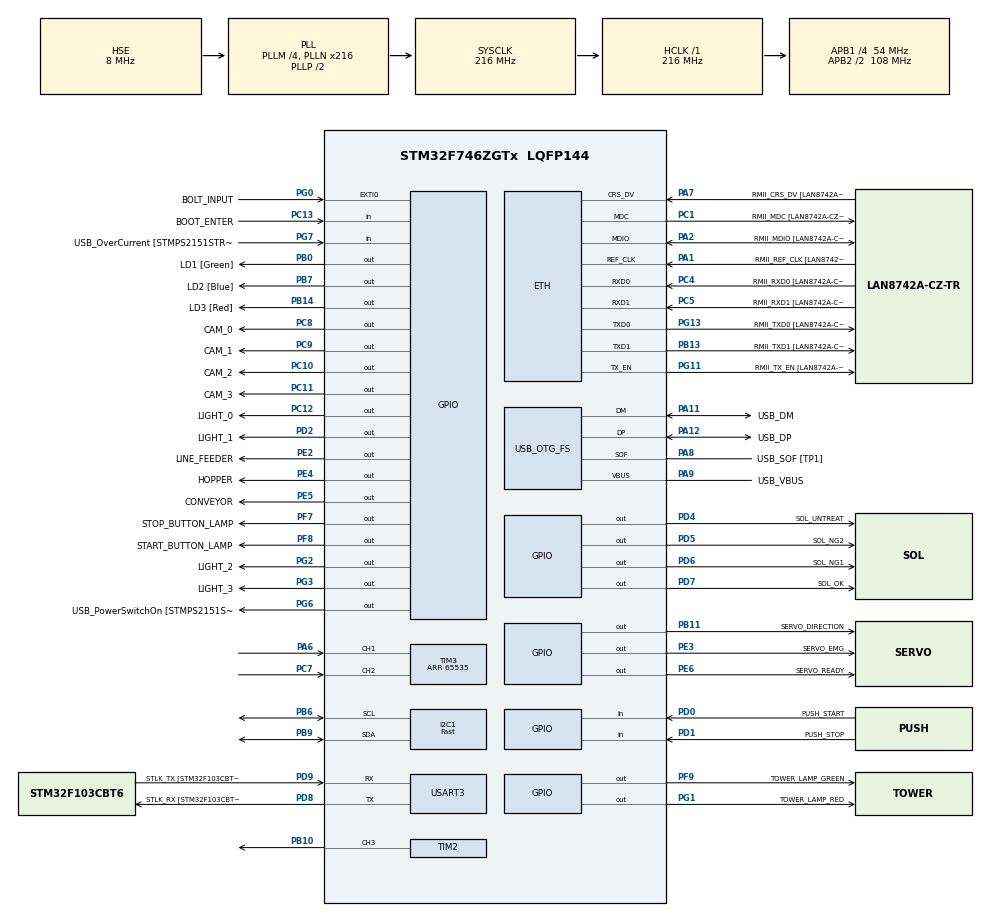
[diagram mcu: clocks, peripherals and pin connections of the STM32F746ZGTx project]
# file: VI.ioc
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ETH.MediaInterface=ETH_MEDIA_INTERFACE_RMII
ETH.PHY_Name=LAN8742A_PHY_ADDRESS
ETH.PHY_Value=0
ETH.PhyAddress=0
FREERTOS.Tasks01=defaultTask,0,1024,StartDefaultTask,Default,NULL,Dynamic,NULL,NULL;mainTask,1,2048,StartmainTask,Default,NULL,Dynamic,NULL,NULL;commTask,0,3072,StartcommTask,Default,NULL,Dynamic,NULL,NULL
FREERTOS.configTOTAL_HEAP_SIZE=131072
I2C1.I2C_Speed_Mode=I2C_Fast
I2C1.Timing=0x6000030D
LWIP.GATEWAY_ADDRESS=192.168.000.001
LWIP.IP_ADDRESS=192.168.000.251
LWIP.LWIP_DHCP=0
LWIP.LWIP_SO_RCVTIMEO=1
LWIP.LWIP_SO_SNDTIMEO=0
LWIP.NETMASK_ADDRESS=255.255.255.000
LWIP.Version=v2.0.3_Cube
Mcu.Family=STM32F7
Mcu.Name=STM32F746ZGTx
Mcu.Package=LQFP144
NVIC.ETH_IRQn=true\:5\:0\:false\:false\:true\:true\:false\:true
NVIC.EXTI0_IRQn=true\:5\:0\:false\:false\:true\:true\:true\:true
NVIC.PriorityGroup=NVIC_PRIORITYGROUP_4
NVIC.TIM8_TRG_COM_TIM14_IRQn=true\:0\:0\:false\:false\:true\:false\:false\:true
NVIC.TimeBase=TIM8_TRG_COM_TIM14_IRQn
NVIC.TimeBaseIP=TIM14
PA1.GPIO_Label=RMII_REF_CLK [LAN8742A-CZ-TR_REFCLK0]
PA1.Mode=RMII
PA1.Signal=ETH_REF_CLK
PA10.GPIO_Label=USB_ID
PA10.Signal=USB_OTG_FS_ID
PA11.GPIO_Label=USB_DM
PA11.Mode=Device_Only
PA11.Signal=USB_OTG_FS_DM
PA12.GPIO_Label=USB_DP
PA12.Mode=Device_Only
PA12.Signal=USB_OTG_FS_DP
PA13.GPIO_Label=TMS
PA13.Mode=Serial_Wire
PA13.Signal=SYS_JTMS-SWDIO
PA14.GPIO_Label=TCK
PA14.Mode=Serial_Wire
PA14.Signal=SYS_JTCK-SWCLK
PA2.GPIO_Label=RMII_MDIO [LAN8742A-CZ-TR_MDIO]
PA2.Mode=RMII
PA2.Signal=ETH_MDIO
PA6.Signal=S_TIM3_CH1
PA7.GPIO_Label=RMII_CRS_DV [LAN8742A-CZ-TR_CRS_DV]
PA7.Mode=RMII
PA7.Signal=ETH_CRS_DV
PA8.GPIO_Label=USB_SOF [TP1]
PA8.Mode=Activate_SOF_FS
PA8.Signal=USB_OTG_FS_SOF
PA9.GPIO_Label=USB_VBUS
PA9.Mode=Activate_VBUS
PA9.Signal=USB_OTG_FS_VBUS
PB0.GPIO_Label=LD1 [Green]
PB0.Signal=GPIO_Output
PB10.Signal=S_TIM2_CH3
PB11.GPIO_Label=SERVO_DIRECTION
PB11.Signal=GPIO_Output
PB13.GPIO_Label=RMII_TXD1 [LAN8742A-CZ-TR_TXD1]
PB13.Mode=RMII
PB13.Signal=ETH_TXD1
PB14.GPIO_Label=LD3 [Red]
PB14.Signal=GPIO_Output
PB3.GPIO_Label=SW0
PB3.Signal=SYS_JTDO-SWO
PB6.Mode=I2C
PB6.Signal=I2C1_SCL
PB7.GPIO_Label=LD2 [Blue]
PB7.Signal=GPIO_Output
PB9.Mode=I2C
PB9.Signal=I2C1_SDA
PC1.GPIO_Label=RMII_MDC [LAN8742A-CZ-TR_MDC]
PC1.Mode=RMII
PC1.Signal=ETH_MDC
PC10.GPIO_Label=CAM_2
PC10.Signal=GPIO_Output
PC11.GPIO_Label=CAM_3
PC11.Signal=GPIO_Output
PC12.GPIO_Label=LIGHT_0
PC12.Signal=GPIO_Output
PC13.GPIO_Label=BOOT_ENTER
PC13.GPIO_Mode=GPIO_MODE_INPUT
PC13.GPIO_PuPd=GPIO_NOPULL
PC13.Signal=GPIO_Input
PC14/OSC32_IN.Mode=LSE-External-Oscillator
PC14/OSC32_IN.Signal=RCC_OSC32_IN
PC15/OSC32_OUT.Mode=LSE-External-Oscillator
PC15/OSC32_OUT.Signal=RCC_OSC32_OUT
PC4.GPIO_Label=RMII_RXD0 [LAN8742A-CZ-TR_RXD0]
PC4.Mode=RMII
PC4.Signal=ETH_RXD0
PC5.GPIO_Label=RMII_RXD1 [LAN8742A-CZ-TR_RXD1]
PC5.Mode=RMII
PC5.Signal=ETH_RXD1
PC7.Signal=S_TIM3_CH2
PC8.GPIO_Label=CAM_0
PC8.Signal=GPIO_Output
PC9.GPIO_Label=CAM_1
PC9.Signal=GPIO_Output
PD0.GPIO_Label=PUSH_START
PD0.GPIO_PuPd=GPIO_PULLDOWN
PD0.Signal=GPIO_Input
PD1.GPIO_Label=PUSH_STOP
PD1.GPIO_PuPd=GPIO_PULLDOWN
PD1.Signal=GPIO_Input
PD2.GPIO_Label=LIGHT_1
PD2.Signal=GPIO_Output
PD4.GPIO_Label=SOL_UNTREAT
PD4.Signal=GPIO_Output
PD5.GPIO_Label=SOL_NG2
PD5.Signal=GPIO_Output
PD6.GPIO_Label=SOL_NG1
PD6.Signal=GPIO_Output
PD7.GPIO_Label=SOL_OK
PD7.Signal=GPIO_Output
PD8.GPIO_Label=STLK_RX [STM32F103CBT6_PA3]
PD8.Mode=Asynchronous
PD8.Signal=USART3_TX
PD9.GPIO_Label=STLK_TX [STM32F103CBT6_PA2]
PD9.Mode=Asynchronous
PD9.Signal=USART3_RX
PE2.GPIO_Label=LINE_FEEDER
PE2.Signal=GPIO_Output
PE3.GPIO_Label=SERVO_EMG
PE3.Signal=GPIO_Output
PE4.GPIO_Label=HOPPER
PE4.Signal=GPIO_Output
PE5.GPIO_Label=CONVEYOR
PE5.Signal=GPIO_Output
PE6.GPIO_Label=SERVO_READY
PE6.Signal=GPIO_Output
PF7.GPIO_Label=STOP_BUTTON_LAMP
PF7.Signal=GPIO_Output
PF8.GPIO_Label=START_BUTTON_LAMP
PF8.Signal=GPIO_Output
PF9.GPIO_Label=TOWER_LAMP_GREEN
PF9.Signal=GPIO_Output
PG0.GPIO_Label=BOLT_INPUT
PG0.GPIO_PuPd=GPIO_PULLDOWN
PG0.Signal=GPXTI0
PG1.GPIO_Label=TOWER_LAMP_RED
PG1.Signal=GPIO_Output
PG11.GPIO_Label=RMII_TX_EN [LAN8742A-CZ-TR_TXEN]
PG11.Mode=RMII
PG11.Signal=ETH_TX_EN
PG13.GPIO_Label=RMII_TXD0 [LAN8742A-CZ-TR_TXD0]
PG13.Mode=RMII
PG13.Signal=ETH_TXD0
PG2.GPIO_Label=LIGHT_2
PG2.Signal=GPIO_Output
PG3.GPIO_Label=LIGHT_3
PG3.Signal=GPIO_Output
PG6.GPIO_Label=USB_PowerSwitchOn [STMPS2151STR_EN]
PG6.Signal=GPIO_Output
PG7.GPIO_Label=USB_OverCurrent [STMPS2151STR_FAULT]
PG7.Signal=GPIO_Input
PH0/OSC_IN.GPIO_Label=MCO [STM32F103CBT6_PA8]
PH0/OSC_IN.Mode=HSE-External-Clock-Source
PH0/OSC_IN.Signal=RCC_OSC_IN
PH1/OSC_OUT.Mode=HSE-External-Clock-Source
PH1/OSC_OUT.Signal=RCC_OSC_OUT
ProjectManager.HeapSize=0x200
ProjectManager.StackSize=0x400
ProjectManager.TargetToolchain=STM32CubeIDE
RCC.48MHZClocksFreq_Value=24000000
RCC.AHBFreq_Value=216000000
RCC.APB1CLKDivider=RCC_HCLK_DIV4
RCC.APB1Freq_Value=54000000
RCC.APB1TimFreq_Value=108000000
RCC.APB2CLKDivider=RCC_HCLK_DIV2
RCC.APB2Freq_Value=108000000
RCC.APB2TimFreq_Value=216000000
RCC.CortexFreq_Value=216000000
RCC.HCLKFreq_Value=216000000
RCC.HSE_VALUE=8000000
RCC.HSI_VALUE=16000000
RCC.PLLM=4
RCC.PLLMUL=RCC_PLL_MUL9
RCC.PLLN=216
RCC.PLLQ=9
RCC.PRESCALERUSB=RCC_USBCLKSOURCE_PLL_DIV1_5
RCC.SYSCLKFreq_VALUE=216000000
RCC.SYSCLKSource=RCC_SYSCLKSOURCE_PLLCLK
RCC.SYSCLKSourceVirtual=RCC_SYSCLKSOURCE_PLLCLK
RCC.USBFreq_Value=48000000
RCC.VCOOutputFreq_Value=432000000
SH.S_TIM2_CH3.0=TIM2_CH3,PWM Generation3 CH3
SH.S_TIM3_CH1.0=TIM3_CH1,Encoder_Interface
SH.S_TIM3_CH2.0=TIM3_CH2,Encoder_Interface
TIM2.Channel-PWM\ Generation3\ CH3=TIM_CHANNEL_3
TIM2.Period=999
TIM2.Prescaler=21600
TIM3.EncoderMode=TIM_ENCODERMODE_TI12
TIM3.Period=65535
USART3.VirtualMode-Asynchronous=VM_ASYNC
USB_OTG_FS.VirtualMode=Device_Only
VP_FREERTOS_VS_CMSIS_V1.Mode=CMSIS_V1
VP_LWIP_VS_Enabled.Mode=Enabled
VP_SYS_VS_tim14.Mode=TIM14
VP_TIM2_VS_ClockSourceINT.Mode=Internal
board=NUCLEO-F746ZG

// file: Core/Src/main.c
/* USER CODE BEGIN Header */
/**
  ******************************************************************************
  * @file           : main.c
  * @brief          : Main program body
  ******************************************************************************
  * @attention
  *
  * <h2><center>&copy; Copyright (c) 2020 STMicroelectronics.
  * All rights reserved.</center></h2>
  *
  * This software component is licensed by ST under BSD 3-Clause license,
  * the "License"; You may not use this file except in compliance with the
  * License. You may obtain a copy of the License at:
  *                        opensource.org/licenses/BSD-3-Clause
  *
  ******************************************************************************
  */
/* USER CODE END Header */

#include "main.h"
#include "cmsis_os.h"
#include "lwip.h"

/* USER CODE BEGIN Includes */
#include "LIB/Dwt_delay.h"

#include "BSW/Encoder.h"

#include "SERVICE/VI_Data.h"
#include "SERVICE/LED.h"
#include "SERVICE/Servo.h"
#include "SERVICE/Bolt.h"

#include "ASW/TaskTCP.h"
#include "ASW/TaskUDP.h"
#include "ASW/TaskRun.h"

/* USER CODE END Includes */

I2C_HandleTypeDef hi2c1;

TIM_HandleTypeDef htim2;
TIM_HandleTypeDef htim3;

UART_HandleTypeDef huart3;

PCD_HandleTypeDef hpcd_USB_OTG_FS;

osThreadId defaultTaskHandle;
osThreadId mainTaskHandle;
osThreadId commTaskHandle;

void SystemClock_Config(void);
static void MX_GPIO_Init(void);
static void MX_USART3_UART_Init(void);
static void MX_USB_OTG_FS_PCD_Init(void);
static void MX_TIM2_Init(void);
static void MX_TIM3_Init(void);
static void MX_I2C1_Init(void);
void StartDefaultTask(void const * argument);
void StartmainTask(void const * argument);
void StartcommTask(void const * argument);

/* USER CODE BEGIN 0 */

void BootLoader_CallBack(void);
void check_BOOTLOADER(void);
void Test_Encoder(void);

void BootLoader_CallBack(void)
{
	__HAL_RCC_GPIOC_CLK_ENABLE();

	if (GPIO_PIN_RESET != HAL_GPIO_ReadPin(BOOT_ENTER_GPIO_Port, BOOT_ENTER_Pin))
	{
		//__enable_irq();
		__set_MSP(*((uint32_t *)0x1FF00000));
		((volatile void (*)(void)) (*((uint32_t *)(0x1FF00000 + 4))))();
	}
}

void check_BOOTLOADER(void)
{
	static uint32_t count = 0;

	if (GPIO_PIN_RESET != HAL_GPIO_ReadPin(BOOT_ENTER_GPIO_Port, BOOT_ENTER_Pin))
	{
		led_RED.pSetLED(LED_ON);
		count++;
	}
	else
		count = 0;

	if (count >= 3000)
	{
		__DSB();
		NVIC_SystemReset();
	}
}

void Test_Encoder(void)
{
	static uint32_t count = 0;

	if (count > 2)
	{
		Encoder_Test_Count_Up();
		count = 0;
	}
	else
		count++;
}

/* USER CODE END 0 */

int main(void)
{

  /* MCU Configuration--------------------------------------------------------*/

  /* Reset of all peripherals, Initializes the Flash interface and the Systick. */
  HAL_Init();

  /* Configure the system clock */
  SystemClock_Config();

  /* USER CODE BEGIN SysInit */
  DWT_Init();
  /* USER CODE END SysInit */

  /* Initialize all configured peripherals */
  MX_GPIO_Init();
  MX_USART3_UART_Init();
  MX_USB_OTG_FS_PCD_Init();
  MX_TIM2_Init();
  MX_TIM3_Init();
  MX_LWIP_Init();
  MX_I2C1_Init();
  /* USER CODE BEGIN 2 */

    Servo_Init();
	Encoder_Init();
	Bolt_Init();

	VI_Data_Status_Data_Reset();
	VI_Data_Setting_Data_Read_from_E2P();

  /* USER CODE END 2 */

  /* Create the thread(s) */
  /* definition and creation of defaultTask */
  osThreadDef(defaultTask, StartDefaultTask, osPriorityNormal, 0, 1024);
  defaultTaskHandle = osThreadCreate(osThread(defaultTask), NULL);

  /* definition and creation of mainTask */
  osThreadDef(mainTask, StartmainTask, osPriorityAboveNormal, 0, 2048);
  mainTaskHandle = osThreadCreate(osThread(mainTask), NULL);

  /* definition and creation of commTask */
  osThreadDef(commTask, StartcommTask, osPriorityNormal, 0, 3072);
  commTaskHandle = osThreadCreate(osThread(commTask), NULL);

  /* Start scheduler */
  osKernelStart();

  /* We should never get here as control is now taken by the scheduler */

  /* Infinite loop */
  while (1)
  {

  }
}

void SystemClock_Config(void)
{
  RCC_OscInitTypeDef RCC_OscInitStruct = {0};
  RCC_ClkInitTypeDef RCC_ClkInitStruct = {0};
  RCC_PeriphCLKInitTypeDef PeriphClkInitStruct = {0};

  /** Configure LSE Drive Capability
  */
  HAL_PWR_EnableBkUpAccess();
  /** Configure the main internal regulator output voltage
  */
  __HAL_RCC_PWR_CLK_ENABLE();
  __HAL_PWR_VOLTAGESCALING_CONFIG(PWR_REGULATOR_VOLTAGE_SCALE1);
  /** Initializes the CPU, AHB and APB busses clocks
  */
  RCC_OscInitStruct.OscillatorType = RCC_OSCILLATORTYPE_HSE;
  RCC_OscInitStruct.HSEState = RCC_HSE_BYPASS;
  RCC_OscInitStruct.PLL.PLLState = RCC_PLL_ON;
  RCC_OscInitStruct.PLL.PLLSource = RCC_PLLSOURCE_HSE;
  RCC_OscInitStruct.PLL.PLLM = 4;
  RCC_OscInitStruct.PLL.PLLN = 216;
  RCC_OscInitStruct.PLL.PLLP = RCC_PLLP_DIV2;
  RCC_OscInitStruct.PLL.PLLQ = 9;
  if (HAL_RCC_OscConfig(&RCC_OscInitStruct) != HAL_OK)
  {
    Error_Handler();
  }
  /** Activate the Over-Drive mode
  */
  if (HAL_PWREx_EnableOverDrive() != HAL_OK)
  {
    Error_Handler();
  }
  /** Initializes the CPU, AHB and APB busses clocks
  */
  RCC_ClkInitStruct.ClockType = RCC_CLOCKTYPE_HCLK|RCC_CLOCKTYPE_SYSCLK
                              |RCC_CLOCKTYPE_PCLK1|RCC_CLOCKTYPE_PCLK2;
  RCC_ClkInitStruct.SYSCLKSource = RCC_SYSCLKSOURCE_PLLCLK;
  RCC_ClkInitStruct.AHBCLKDivider = RCC_SYSCLK_DIV1;
  RCC_ClkInitStruct.APB1CLKDivider = RCC_HCLK_DIV4;
  RCC_ClkInitStruct.APB2CLKDivider = RCC_HCLK_DIV2;

  if (HAL_RCC_ClockConfig(&RCC_ClkInitStruct, FLASH_LATENCY_7) != HAL_OK)
  {
    Error_Handler();
  }
  PeriphClkInitStruct.PeriphClockSelection = RCC_PERIPHCLK_USART3|RCC_PERIPHCLK_I2C1
                              |RCC_PERIPHCLK_CLK48;
  PeriphClkInitStruct.Usart3ClockSelection = RCC_USART3CLKSOURCE_PCLK1;
  PeriphClkInitStruct.I2c1ClockSelection = RCC_I2C1CLKSOURCE_PCLK1;
  PeriphClkInitStruct.Clk48ClockSelection = RCC_CLK48SOURCE_PLL;
  if (HAL_RCCEx_PeriphCLKConfig(&PeriphClkInitStruct) != HAL_OK)
  {
    Error_Handler();
  }
}

static void MX_I2C1_Init(void)
{

  hi2c1.Instance = I2C1;
  hi2c1.Init.Timing = 0x6000030D;
  hi2c1.Init.OwnAddress1 = 0;
  hi2c1.Init.AddressingMode = I2C_ADDRESSINGMODE_7BIT;
  hi2c1.Init.DualAddressMode = I2C_DUALADDRESS_DISABLE;
  hi2c1.Init.OwnAddress2 = 0;
  hi2c1.Init.OwnAddress2Masks = I2C_OA2_NOMASK;
  hi2c1.Init.GeneralCallMode = I2C_GENERALCALL_DISABLE;
  hi2c1.Init.NoStretchMode = I2C_NOSTRETCH_DISABLE;
  if (HAL_I2C_Init(&hi2c1) != HAL_OK)
  {
    Error_Handler();
  }
  /** Configure Analogue filter
  */
  if (HAL_I2CEx_ConfigAnalogFilter(&hi2c1, I2C_ANALOGFILTER_ENABLE) != HAL_OK)
  {
    Error_Handler();
  }
  /** Configure Digital filter
  */
  if (HAL_I2CEx_ConfigDigitalFilter(&hi2c1, 0) != HAL_OK)
  {
    Error_Handler();
  }

}

static void MX_TIM2_Init(void)
{

  TIM_ClockConfigTypeDef sClockSourceConfig = {0};
  TIM_MasterConfigTypeDef sMasterConfig = {0};
  TIM_OC_InitTypeDef sConfigOC = {0};

  htim2.Instance = TIM2;
  htim2.Init.Prescaler = 21600;
  htim2.Init.CounterMode = TIM_COUNTERMODE_UP;
  htim2.Init.Period = 999;
  htim2.Init.ClockDivision = TIM_CLOCKDIVISION_DIV1;
  htim2.Init.AutoReloadPreload = TIM_AUTORELOAD_PRELOAD_DISABLE;
  if (HAL_TIM_Base_Init(&htim2) != HAL_OK)
  {
    Error_Handler();
  }
  sClockSourceConfig.ClockSource = TIM_CLOCKSOURCE_INTERNAL;
  if (HAL_TIM_ConfigClockSource(&htim2, &sClockSourceConfig) != HAL_OK)
  {
    Error_Handler();
  }
  if (HAL_TIM_PWM_Init(&htim2) != HAL_OK)
  {
    Error_Handler();
  }
  sMasterConfig.MasterOutputTrigger = TIM_TRGO_RESET;
  sMasterConfig.MasterSlaveMode = TIM_MASTERSLAVEMODE_DISABLE;
  if (HAL_TIMEx_MasterConfigSynchronization(&htim2, &sMasterConfig) != HAL_OK)
  {
    Error_Handler();
  }
  sConfigOC.OCMode = TIM_OCMODE_PWM1;
  sConfigOC.Pulse = 0;
  sConfigOC.OCPolarity = TIM_OCPOLARITY_HIGH;
  sConfigOC.OCFastMode = TIM_OCFAST_DISABLE;
  if (HAL_TIM_PWM_ConfigChannel(&htim2, &sConfigOC, TIM_CHANNEL_3) != HAL_OK)
  {
    Error_Handler();
  }
  HAL_TIM_MspPostInit(&htim2);

}

static void MX_TIM3_Init(void)
{

  TIM_Encoder_InitTypeDef sConfig = {0};
  TIM_MasterConfigTypeDef sMasterConfig = {0};

  htim3.Instance = TIM3;
  htim3.Init.Prescaler = 0;
  htim3.Init.CounterMode = TIM_COUNTERMODE_UP;
  htim3.Init.Period = 65535;
  htim3.Init.ClockDivision = TIM_CLOCKDIVISION_DIV1;
  htim3.Init.AutoReloadPreload = TIM_AUTORELOAD_PRELOAD_DISABLE;
  sConfig.EncoderMode = TIM_ENCODERMODE_TI12;
  sConfig.IC1Polarity = TIM_ICPOLARITY_RISING;
  sConfig.IC1Selection = TIM_ICSELECTION_DIRECTTI;
  sConfig.IC1Prescaler = TIM_ICPSC_DIV1;
  sConfig.IC1Filter = 0;
  sConfig.IC2Polarity = TIM_ICPOLARITY_RISING;
  sConfig.IC2Selection = TIM_ICSELECTION_DIRECTTI;
  sConfig.IC2Prescaler = TIM_ICPSC_DIV1;
  sConfig.IC2Filter = 0;
  if (HAL_TIM_Encoder_Init(&htim3, &sConfig) != HAL_OK)
  {
    Error_Handler();
  }
  sMasterConfig.MasterOutputTrigger = TIM_TRGO_RESET;
  sMasterConfig.MasterSlaveMode = TIM_MASTERSLAVEMODE_DISABLE;
  if (HAL_TIMEx_MasterConfigSynchronization(&htim3, &sMasterConfig) != HAL_OK)
  {
    Error_Handler();
  }

}

static void MX_USART3_UART_Init(void)
{

  huart3.Instance = USART3;
  huart3.Init.BaudRate = 115200;
  huart3.Init.WordLength = UART_WORDLENGTH_8B;
  huart3.Init.StopBits = UART_STOPBITS_1;
  huart3.Init.Parity = UART_PARITY_NONE;
  huart3.Init.Mode = UART_MODE_TX_RX;
  huart3.Init.HwFlowCtl = UART_HWCONTROL_NONE;
  huart3.Init.OverSampling = UART_OVERSAMPLING_16;
  huart3.Init.OneBitSampling = UART_ONE_BIT_SAMPLE_DISABLE;
  huart3.AdvancedInit.AdvFeatureInit = UART_ADVFEATURE_NO_INIT;
  if (HAL_UART_Init(&huart3) != HAL_OK)
  {
    Error_Handler();
  }

}

static void MX_USB_OTG_FS_PCD_Init(void)
{

  hpcd_USB_OTG_FS.Instance = USB_OTG_FS;
  hpcd_USB_OTG_FS.Init.dev_endpoints = 6;
  hpcd_USB_OTG_FS.Init.speed = PCD_SPEED_FULL;
  hpcd_USB_OTG_FS.Init.dma_enable = DISABLE;
  hpcd_USB_OTG_FS.Init.phy_itface = PCD_PHY_EMBEDDED;
  hpcd_USB_OTG_FS.Init.Sof_enable = ENABLE;
  hpcd_USB_OTG_FS.Init.low_power_enable = DISABLE;
  hpcd_USB_OTG_FS.Init.lpm_enable = DISABLE;
  hpcd_USB_OTG_FS.Init.vbus_sensing_enable = ENABLE;
  hpcd_USB_OTG_FS.Init.use_dedicated_ep1 = DISABLE;
  if (HAL_PCD_Init(&hpcd_USB_OTG_FS) != HAL_OK)
  {
    Error_Handler();
  }

}

static void MX_GPIO_Init(void)
{
  GPIO_InitTypeDef GPIO_InitStruct = {0};

  /* GPIO Ports Clock Enable */
  __HAL_RCC_GPIOE_CLK_ENABLE();
  __HAL_RCC_GPIOC_CLK_ENABLE();
  __HAL_RCC_GPIOF_CLK_ENABLE();
  __HAL_RCC_GPIOH_CLK_ENABLE();
  __HAL_RCC_GPIOA_CLK_ENABLE();
  __HAL_RCC_GPIOB_CLK_ENABLE();
  __HAL_RCC_GPIOG_CLK_ENABLE();
  __HAL_RCC_GPIOD_CLK_ENABLE();

  /*Configure GPIO pin Output Level */
  HAL_GPIO_WritePin(GPIOE, LINE_FEEDER_Pin|SERVO_EMG_Pin|HOPPER_Pin|CONVEYOR_Pin
                          |SERVO_READY_Pin, GPIO_PIN_RESET);

  /*Configure GPIO pin Output Level */
  HAL_GPIO_WritePin(GPIOF, STOP_BUTTON_LAMP_Pin|START_BUTTON_LAMP_Pin|TOWER_LAMP_GREEN_Pin, GPIO_PIN_RESET);

  /*Configure GPIO pin Output Level */
  HAL_GPIO_WritePin(GPIOB, LD1_Pin|SERVO_DIRECTION_Pin|LD3_Pin|LD2_Pin, GPIO_PIN_RESET);

  /*Configure GPIO pin Output Level */
  HAL_GPIO_WritePin(GPIOG, TOWER_LAMP_RED_Pin|LIGHT_2_Pin|LIGHT_3_Pin|USB_PowerSwitchOn_Pin, GPIO_PIN_RESET);

  /*Configure GPIO pin Output Level */
  HAL_GPIO_WritePin(GPIOC, CAM_0_Pin|CAM_1_Pin|CAM_2_Pin|CAM_3_Pin
                          |LIGHT_0_Pin, GPIO_PIN_RESET);

  /*Configure GPIO pin Output Level */
  HAL_GPIO_WritePin(GPIOD, LIGHT_1_Pin|SOL_UNTREAT_Pin|SOL_NG2_Pin|SOL_NG1_Pin
                          |SOL_OK_Pin, GPIO_PIN_RESET);

  /*Configure GPIO pins : LINE_FEEDER_Pin SERVO_EMG_Pin HOPPER_Pin CONVEYOR_Pin
                           SERVO_READY_Pin */
  GPIO_InitStruct.Pin = LINE_FEEDER_Pin|SERVO_EMG_Pin|HOPPER_Pin|CONVEYOR_Pin
                          |SERVO_READY_Pin;
  GPIO_InitStruct.Mode = GPIO_MODE_OUTPUT_PP;
  GPIO_InitStruct.Pull = GPIO_NOPULL;
  GPIO_InitStruct.Speed = GPIO_SPEED_FREQ_LOW;
  HAL_GPIO_Init(GPIOE, &GPIO_InitStruct);

  /*Configure GPIO pin : BOOT_ENTER_Pin */
  GPIO_InitStruct.Pin = BOOT_ENTER_Pin;
  GPIO_InitStruct.Mode = GPIO_MODE_INPUT;
  GPIO_InitStruct.Pull = GPIO_NOPULL;
  HAL_GPIO_Init(BOOT_ENTER_GPIO_Port, &GPIO_InitStruct);

  /*Configure GPIO pins : STOP_BUTTON_LAMP_Pin START_BUTTON_LAMP_Pin TOWER_LAMP_GREEN_Pin */
  GPIO_InitStruct.Pin = STOP_BUTTON_LAMP_Pin|START_BUTTON_LAMP_Pin|TOWER_LAMP_GREEN_Pin;
  GPIO_InitStruct.Mode = GPIO_MODE_OUTPUT_PP;
  GPIO_InitStruct.Pull = GPIO_NOPULL;
  GPIO_InitStruct.Speed = GPIO_SPEED_FREQ_LOW;
  HAL_GPIO_Init(GPIOF, &GPIO_InitStruct);

  /*Configure GPIO pins : LD1_Pin SERVO_DIRECTION_Pin LD3_Pin LD2_Pin */
  GPIO_InitStruct.Pin = LD1_Pin|SERVO_DIRECTION_Pin|LD3_Pin|LD2_Pin;
  GPIO_InitStruct.Mode = GPIO_MODE_OUTPUT_PP;
  GPIO_InitStruct.Pull = GPIO_NOPULL;
  GPIO_InitStruct.Speed = GPIO_SPEED_FREQ_LOW;
  HAL_GPIO_Init(GPIOB, &GPIO_InitStruct);

  /*Configure GPIO pin : BOLT_INPUT_Pin */
  GPIO_InitStruct.Pin = BOLT_INPUT_Pin;
  GPIO_InitStruct.Mode = GPIO_MODE_IT_RISING;
  GPIO_InitStruct.Pull = GPIO_PULLDOWN;
  HAL_GPIO_Init(BOLT_INPUT_GPIO_Port, &GPIO_InitStruct);

  /*Configure GPIO pins : TOWER_LAMP_RED_Pin LIGHT_2_Pin LIGHT_3_Pin USB_PowerSwitchOn_Pin */
  GPIO_InitStruct.Pin = TOWER_LAMP_RED_Pin|LIGHT_2_Pin|LIGHT_3_Pin|USB_PowerSwitchOn_Pin;
  GPIO_InitStruct.Mode = GPIO_MODE_OUTPUT_PP;
  GPIO_InitStruct.Pull = GPIO_NOPULL;
  GPIO_InitStruct.Speed = GPIO_SPEED_FREQ_LOW;
  HAL_GPIO_Init(GPIOG, &GPIO_InitStruct);

  /*Configure GPIO pin : USB_OverCurrent_Pin */
  GPIO_InitStruct.Pin = USB_OverCurrent_Pin;
  GPIO_InitStruct.Mode = GPIO_MODE_INPUT;
  GPIO_InitStruct.Pull = GPIO_NOPULL;
  HAL_GPIO_Init(USB_OverCurrent_GPIO_Port, &GPIO_InitStruct);

  /*Configure GPIO pins : CAM_0_Pin CAM_1_Pin CAM_2_Pin CAM_3_Pin
                           LIGHT_0_Pin */
  GPIO_InitStruct.Pin = CAM_0_Pin|CAM_1_Pin|CAM_2_Pin|CAM_3_Pin
                          |LIGHT_0_Pin;
  GPIO_InitStruct.Mode = GPIO_MODE_OUTPUT_PP;
  GPIO_InitStruct.Pull = GPIO_NOPULL;
  GPIO_InitStruct.Speed = GPIO_SPEED_FREQ_LOW;
  HAL_GPIO_Init(GPIOC, &GPIO_InitStruct);

  /*Configure GPIO pins : PUSH_START_Pin PUSH_STOP_Pin */
  GPIO_InitStruct.Pin = PUSH_START_Pin|PUSH_STOP_Pin;
  GPIO_InitStruct.Mode = GPIO_MODE_INPUT;
  GPIO_InitStruct.Pull = GPIO_PULLDOWN;
  HAL_GPIO_Init(GPIOD, &GPIO_InitStruct);

  /*Configure GPIO pins : LIGHT_1_Pin SOL_UNTREAT_Pin SOL_NG2_Pin SOL_NG1_Pin
                           SOL_OK_Pin */
  GPIO_InitStruct.Pin = LIGHT_1_Pin|SOL_UNTREAT_Pin|SOL_NG2_Pin|SOL_NG1_Pin
                          |SOL_OK_Pin;
  GPIO_InitStruct.Mode = GPIO_MODE_OUTPUT_PP;
  GPIO_InitStruct.Pull = GPIO_NOPULL;
  GPIO_InitStruct.Speed = GPIO_SPEED_FREQ_LOW;
  HAL_GPIO_Init(GPIOD, &GPIO_InitStruct);

  /* EXTI interrupt init*/
  HAL_NVIC_SetPriority(EXTI0_IRQn, 5, 0);
  HAL_NVIC_EnableIRQ(EXTI0_IRQn);

}

void StartDefaultTask(void const * argument)
{
  /* USER CODE BEGIN 5 */
	TaskUDP_Init();

	/* Infinite loop */
	for(;;)
	{
		TaskUDP_Main();

		osDelay(50);
	}
  /* USER CODE END 5 */
}

void StartmainTask(void const * argument)
{
  /* USER CODE BEGIN StartmainTask */

  /* Infinite loop */
	for(;;)
	{
		LED_Main();

		TaskRun_Main();

		// For Test
		Test_Encoder();

		check_BOOTLOADER();

		osDelay(1);
	}
  /* USER CODE END StartmainTask */
}

void StartcommTask(void const * argument)
{
  /* USER CODE BEGIN StartcommTask */

  /* Infinite loop */
  for(;;)
  {
	  TaskTCP_Main();
  }
  /* USER CODE END StartcommTask */
}

void HAL_TIM_PeriodElapsedCallback(TIM_HandleTypeDef *htim)
{
  if (htim->Instance == TIM14) {
    HAL_IncTick();
  }
}

void Error_Handler(void)
{
}

/************************ (C) COPYRIGHT STMicroelectronics *****END OF FILE****/
